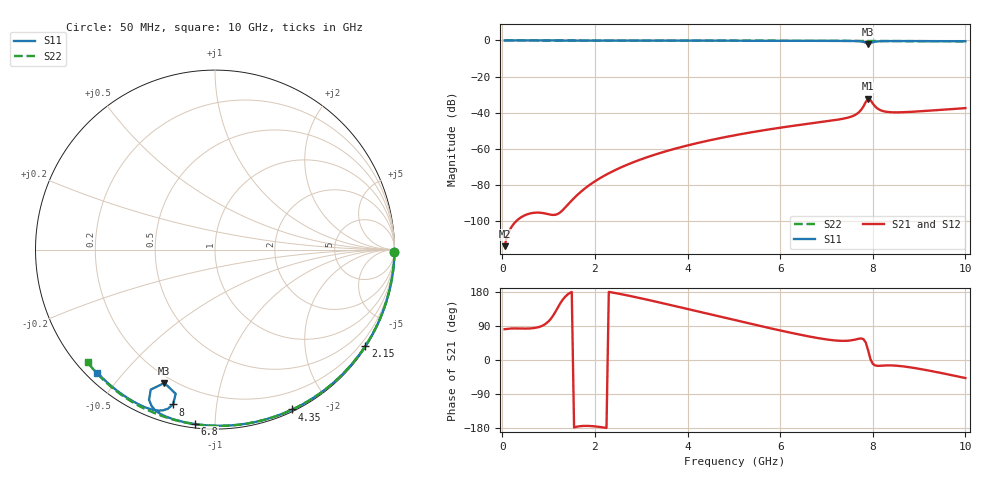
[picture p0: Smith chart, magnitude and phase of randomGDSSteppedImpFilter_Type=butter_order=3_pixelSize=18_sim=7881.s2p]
! freq	dB(S11)	phase(S11)	dB(S12)	phase(S12)
!  dB(S21)	phase(S21)	dB(S22)	phase(S22)
!S-par simulation data
#  GHz  S  DB  R 50
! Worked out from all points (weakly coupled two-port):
!   200 points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, 50 MHz to 10 GHz, reference 50 ohm
!   highest |S21| = -32.31 dB at 7.9 GHz (marker M1); lowest = -113.9 dB at 50 MHz (marker M2)
!   lowest |S11| = -2.0 dB at 7.9 GHz (marker M3), VSWR 8.75, Z = 8.39 - j33.8 ohm
!   |S11| at or under -10 dB: nowhere
!   |S22| runs from -0.5 to 0.0 dB; largest |S21 - S12| = 0
!   S11 on the Smith chart (normalised r, x): 50 MHz: open; 2.15 GHz: 0.03, -3.41; 4.35 GHz: 0.02, -1.59; 6.8 GHz: 0.02, -0.89; 8 GHz: 0.09, -0.76; 10 GHz: 0.03, -0.43
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0.05  -0.00 -0.8  -113.87 81.2  -113.87 81.2  -0.00 -0.8
0.9  -0.02 -13.9  -95.63 92.7  -95.63 92.7  -0.02 -14.3
1.75  -0.03 -26.7  -82.61 -174.0  -82.61 -174.0  -0.04 -27.6
1.9  -0.04 -29.0  -79.71 -174.2  -79.71 -174.2  -0.04 -30.0
2.15  -0.04 -32.7  -75.62 -177.4  -75.62 -177.4  -0.04 -33.8
2.75  -0.05 -41.5  -68.22 169.2  -68.22 169.2  -0.06 -42.9
3.4  -0.07 -50.9  -62.35 151.6  -62.35 151.6  -0.07 -52.6
4.35  -0.09 -64.2  -55.99 124.5  -55.99 124.5  -0.09 -66.2
5.05  -0.11 -73.7  -52.33 104.4  -52.33 104.4  -0.12 -76.0
6.7  -0.19 -95.3  -45.78 60.4  -45.78 60.4  -0.19 -97.9
6.8  -0.19 -96.7  -45.44 58.2  -45.44 58.2  -0.20 -99.1
7.35  -0.24 -104.2  -43.36 50.5  -43.36 50.5  -0.23 -106.1
7.6  -0.31 -108.4  -41.47 53.3  -41.47 53.3  -0.25 -109.2
7.7  -0.42 -110.6  -39.76 56.1  -39.76 56.1  -0.26 -110.5
7.8  -0.79 -113.7  -36.43 54.9  -36.43 54.9  -0.27 -111.7
7.85  -1.33 -114.6  -34.03 46.0  -34.03 46.0  -0.27 -112.3
7.9  -1.99 -110.8  -32.31 25.3  -32.31 25.3  -0.27 -112.9
7.95  -1.59 -105.3  -33.01 2.2  -33.01 2.2  -0.26 -113.5
8  -0.98 -105.1  -34.89 -9.9  -34.89 -9.9  -0.27 -114.2
8.15  -0.45 -109.1  -38.42 -15.3  -38.42 -15.3  -0.28 -116.0
8.35  -0.36 -112.8  -39.65 -14.2  -39.65 -14.2  -0.30 -118.5
10  -0.46 -133.7  -37.46 -47.6  -37.46 -47.6  -0.47 -138.5
